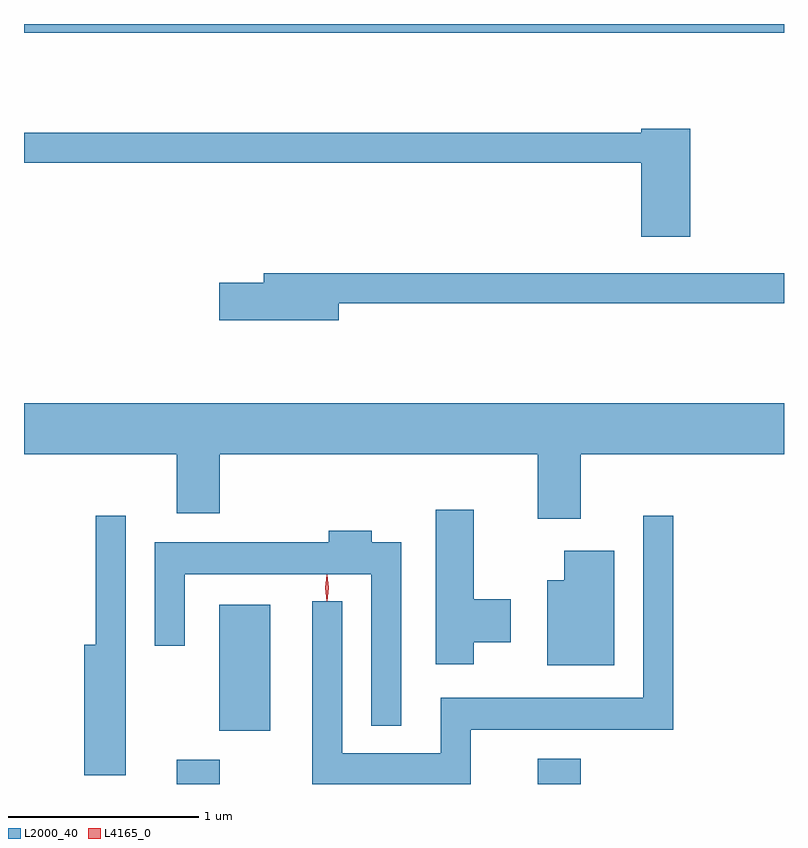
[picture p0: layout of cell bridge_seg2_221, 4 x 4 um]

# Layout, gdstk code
import gdstk
lib = gdstk.Library(unit=1e-6, precision=1e-09)
def R(c, l, rs):  # rectangles x0, y0, x1, y1
    for r in rs: c.add(gdstk.rectangle(r[:2], r[2:], *l))
def P(c, l, *ps):  # polygons
    for p in ps: c.add(gdstk.Polygon(p, *l))
L2000_40 = (2000, 40)
L4165_0 = (4165, 0)

bridge_seg2_221 = lib.new_cell('bridge_seg2_221')
R(bridge_seg2_221, L2000_40, [(541.751,1097.641,541.979,1097.769), (543.651,1097.641,543.879,1097.774), (541.976,1097.921,542.244,1098.584), (540.948,1101.596,544.948,1101.641)])
P(bridge_seg2_221, L2000_40, [(544.454,1101.089),(544.196,1101.089),(544.196,1101.069),(540.948,1101.069),(540.948,1100.911),(544.196,1100.911),(544.196,1100.521),(544.454,1100.521)],
  [(542.604,1100.171),(544.948,1100.171),(544.948,1100.329),(542.211,1100.329),(542.211,1100.279),(541.976,1100.279),(541.976,1100.081),(542.604,1100.081)],
  [(540.948,1099.376),(541.751,1099.376),(541.751,1099.066),(541.979,1099.066),(541.979,1099.376),(543.651,1099.376),(543.651,1099.036),(543.879,1099.036),(543.879,1099.376),(544.948,1099.376),(544.948,1099.644),(540.948,1099.644)],
  [(543.314,1098.386),(543.509,1098.386),(543.509,1098.614),(543.314,1098.614),(543.314,1099.084),(543.116,1099.084),(543.116,1098.271),(543.314,1098.271)],
  [(541.484,1099.053),(541.326,1099.053),(541.326,1098.374),(541.266,1098.374),(541.266,1097.686),(541.484,1097.686)],
  [(543.299,1097.926),(544.364,1097.926),(544.364,1099.053),(544.206,1099.053),(544.206,1098.094),(543.141,1098.094),(543.141,1097.804),(542.624,1097.804),(542.624,1098.603),(542.466,1098.603),(542.466,1097.641),(543.299,1097.641)],
  [(542.934,1098.914),(542.779,1098.914),(542.779,1098.974),(542.551,1098.974),(542.551,1098.914),(541.636,1098.914),(541.636,1098.368),(541.794,1098.368),(541.794,1098.746),(542.776,1098.746),(542.776,1097.948),(542.934,1097.948)],
  [(544.054,1098.869),(543.791,1098.869),(543.791,1098.714),(543.701,1098.714),(543.701,1098.266),(544.054,1098.266)])
P(bridge_seg2_221, L4165_0, [(542.543,1098.603),(542.542,1098.604),(542.533,1098.673),(542.542,1098.742),(542.543,1098.743),(542.543,1098.742),(542.553,1098.673),(542.543,1098.604)],
  [(542.543,1098.607),(542.543,1098.608),(542.533,1098.674),(542.542,1098.74),(542.543,1098.74),(542.543,1098.74),(542.553,1098.674),(542.544,1098.608)])

lib.write_gds('bridge_seg2_221.gds')
